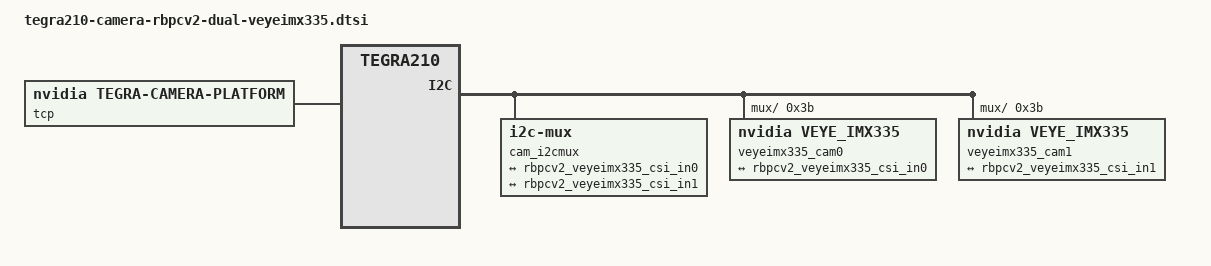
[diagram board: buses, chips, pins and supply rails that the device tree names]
/*
 * Copyright (c) 2018-2019, NVIDIA CORPORATION.  All rights reserved.
 *
 * This program is free software; you can redistribute it and/or modify
 * it under the terms of the GNU General Public License as published by
 * the Free Software Foundation; either version 2 of the License, or
 * (at your option) any later version.
 *
 * This program is distributed in the hope that it will be useful, but WITHOUT
 * ANY WARRANTY; without even the implied warranty of MERCHANTABILITY or
 * FITNESS FOR A PARTICULAR PURPOSE.  See the GNU General Public License for
 * more details.
 *
 * You should have received a copy of the GNU General Public License
 * along with this program.  If not, see <http://www.gnu.org/licenses/>.
 */

#include <dt-bindings/media/camera.h>
#include <dt-bindings/platform/t210/t210.h>

/ {
	host1x {
		vi_base: vi {
			num-channels = <2>;
			ports {
				#address-cells = <1>;
				#size-cells = <0>;
				vi_port0: port@0 {
					reg = <0>;
					rbpcv2_veyeimx335_vi_in0: endpoint {
						port-index = <0>;
						bus-width = <2>;
						remote-endpoint = <&rbpcv2_veyeimx335_csi_out0>;
					};
				};
				vi_port1: port@1 {
					reg = <1>;
					rbpcv2_veyeimx335_vi_in1: endpoint {
						port-index = <4>;
						bus-width = <2>;
						remote-endpoint = <&rbpcv2_veyeimx335_csi_out1>;
					};
				};
			};
		};

		csi_base: nvcsi {
			num-channels = <2>;
			#address-cells = <1>;
			#size-cells = <0>;
			csi_chan0: channel@0 {
				reg = <0>;
				ports {
					#address-cells = <1>;
					#size-cells = <0>;
					csi_chan0_port0: port@0 {
						reg = <0>;
						rbpcv2_veyeimx335_csi_in0: endpoint@0 {
							port-index = <0>;
							bus-width = <2>;
							remote-endpoint = <&rbpcv2_veyeimx335_dual_out0>;
						};
					};
					csi_chan0_port1: port@1 {
						reg = <1>;
						rbpcv2_veyeimx335_csi_out0: endpoint@1 {
							remote-endpoint = <&rbpcv2_veyeimx335_vi_in0>;
						};
					};
				};
			};
			csi_chan1: channel@1 {
				reg = <1>;
				ports {
					#address-cells = <1>;
					#size-cells = <0>;
					csi_chan1_port0: port@2 {
						reg = <0>;
						rbpcv2_veyeimx335_csi_in1: endpoint@2 {
							port-index = <4>;
							bus-width = <2>;
							remote-endpoint = <&rbpcv2_veyeimx335_dual_out1>;
						};
					};
					csi_chan1_port1: port@3 {
						reg = <1>;
						rbpcv2_veyeimx335_csi_out1: endpoint@3 {
							remote-endpoint = <&rbpcv2_veyeimx335_vi_in1>;
						};
					};
				};
			};
		};
	};

	cam_i2cmux {
		i2c_0: i2c@0 {

			veyeimx335_cam0: rbpcv2_veyeimx335_a@3b {

				compatible = "nvidia,veye_imx335";
				/* I2C device address */
				reg = <0x3b>;

				/* V4L2 device node location */
				devnode = "video0";

				/* Physical dimensions of sensor */
				physical_w = "5.6";
				physical_h = "3.1";

				sensor_model = "veyeimx335";

				use_sensor_mode_id = "true";

				/**
				* ==== Modes ====
				* A modeX node is required to support v4l2 driver
				* implementation with NVIDIA camera software stack
				*
				* == Signal properties ==
				*
				* phy_mode = "";
				* PHY mode used by the MIPI lanes for this device
				*
				* tegra_sinterface = "";
				* CSI Serial interface connected to tegra
				* Incase of virtual HW devices, use virtual
				* For SW emulated devices, use host
				*
				* pix_clk_hz = "";
				* Sensor pixel clock used for calculations like exposure and framerate
				*
				* readout_orientation = "0";
				* Based on camera module orientation.
				* Only change readout_orientation if you specifically
				* Program a different readout order for this mode
				*
				* == Image format Properties ==
				*
				* active_w = "";
				* Pixel active region width
				*
				* active_h = "";
				* Pixel active region height
				*
				* pixel_t = "";
				* The sensor readout pixel pattern
				*
				* line_length = "";
				* Pixel line length (width) for sensor mode.
				*
				* == Source Control Settings ==
				*
				* Gain factor used to convert fixed point integer to float
				* Gain range [min_gain/gain_factor, max_gain/gain_factor]
				* Gain step [step_gain/gain_factor is the smallest step that can be configured]
				* Default gain [Default gain to be initialized for the control.
				*     use min_gain_val as default for optimal results]
				* Framerate factor used to convert fixed point integer to float
				* Framerate range [min_framerate/framerate_factor, max_framerate/framerate_factor]
				* Framerate step [step_framerate/framerate_factor is the smallest step that can be configured]
				* Default Framerate [Default framerate to be initialized for the control.
				*     use max_framerate to get required performance]
				* Exposure factor used to convert fixed point integer to float
				* For convenience use 1 sec = 1000000us as conversion factor
				* Exposure range [min_exp_time/exposure_factor, max_exp_time/exposure_factor]
				* Exposure step [step_exp_time/exposure_factor is the smallest step that can be configured]
				* Default Exposure Time [Default exposure to be initialized for the control.
				*     Set default exposure based on the default_framerate for optimal exposure settings]
				*
				* gain_factor = ""; (integer factor used for floating to fixed point conversion)
				* min_gain_val = ""; (ceil to integer)
				* max_gain_val = ""; (ceil to integer)
				* step_gain_val = ""; (ceil to integer)
				* default_gain = ""; (ceil to integer)
				* Gain limits for mode
				*
				* exposure_factor = ""; (integer factor used for floating to fixed point conversion)
				* min_exp_time = ""; (ceil to integer)
				* max_exp_time = ""; (ceil to integer)
				* step_exp_time = ""; (ceil to integer)
				* default_exp_time = ""; (ceil to integer)
				* Exposure Time limits for mode (sec)
				*
				* framerate_factor = ""; (integer factor used for floating to fixed point conversion)
				* min_framerate = ""; (ceil to integer)
				* max_framerate = ""; (ceil to integer)
				* step_framerate = ""; (ceil to integer)
				* default_framerate = ""; (ceil to integer)
				* Framerate limits for mode (fps)
				*
				* embedded_metadata_height = "";
				* Sensor embedded metadata height in units of rows.
				* If sensor does not support embedded metadata value should be 0.
				*/
				mode0 { /* VEYECAM_MODE_2592x1944_20FPS */
					mclk_khz = "24000";
					num_lanes = "2";
					tegra_sinterface = "serial_a";
					phy_mode = "DPHY";
					discontinuous_clk = "no";
					dpcm_enable = "false";
					cil_settletime = "0";

					active_w = "2592";
					active_h = "1944";
					
                    mode_type = "yuv";
					pixel_phase = "uyvy";
					csi_pixel_bit_depth = "16";
					readout_orientation = "0";
					line_length = "3000";
					inherent_gain = "1";
					mclk_multiplier = "2";
					pix_clk_hz = "148500000";

					gain_factor = "16";
					framerate_factor = "1000000";
					exposure_factor = "1000000";
					min_gain_val = "16"; /* 1.00x */
					max_gain_val = "170"; /* 10.66x */
					step_gain_val = "1";
					default_gain = "16"; /* 1.00x */
					min_hdr_ratio = "1";
					max_hdr_ratio = "1";
					min_framerate = "20000000"; /* 20 fps */
					max_framerate = "20000000"; /* 20 fps */
					step_framerate = "1";
					default_framerate = "20000000"; /* 20 fps */
					min_exp_time = "13"; /* us */
					max_exp_time = "333333"; /* us */
					step_exp_time = "1";
					default_exp_time = "2495"; /* us */

					embedded_metadata_height = "0";
				};
                mode1 { /* VEYECAM_MODE_2592x1944_12_5FPS */
					mclk_khz = "24000";
					num_lanes = "2";
					tegra_sinterface = "serial_a";
					phy_mode = "DPHY";
					discontinuous_clk = "no";
					dpcm_enable = "false";
					cil_settletime = "0";

					active_w = "2592";
					active_h = "1944";
					mode_type = "yuv";
					pixel_phase = "uyvy";
					csi_pixel_bit_depth = "16";
					readout_orientation = "0";
					line_length = "3750";
					inherent_gain = "1";
					mclk_multiplier = "2";
					pix_clk_hz = "148500000";

					gain_factor = "16";
					framerate_factor = "1000000";
					exposure_factor = "1000000";
					min_gain_val = "16"; /* 1.00x */
					max_gain_val = "170"; /* 10.66x */
					step_gain_val = "1";
					default_gain = "16"; /* 1.00x */
					min_hdr_ratio = "1";
					max_hdr_ratio = "1";
					min_framerate = "12500000"; /* 12.5 fps */
					max_framerate = "12500000"; /* 12.5 fps */
					step_framerate = "1";
					default_framerate = "12500000"; /* 12.5 fps */
					min_exp_time = "13"; /* us */
					max_exp_time = "333333"; /* us */
					step_exp_time = "1";
					default_exp_time = "2495"; /* us */

					embedded_metadata_height = "0";
				};
                mode2 { /* VEYECAM_MODE_2560x1440_25FPS */
					mclk_khz = "24000";
					num_lanes = "2";
					tegra_sinterface = "serial_a";
					phy_mode = "DPHY";
					discontinuous_clk = "no";
					dpcm_enable = "false";
					cil_settletime = "0";

					active_w = "2560";
					active_h = "1440";
					mode_type = "yuv";
					pixel_phase = "uyvy";
					csi_pixel_bit_depth = "16";
					readout_orientation = "0";
					line_length = "3960";
					inherent_gain = "1";
					mclk_multiplier = "2";
					pix_clk_hz = "148500000";

					gain_factor = "16";
					framerate_factor = "1000000";
					exposure_factor = "1000000";
					min_gain_val = "16"; /* 1.00x */
					max_gain_val = "170"; /* 10.66x */
					step_gain_val = "1";
					default_gain = "16"; /* 1.00x */
					min_hdr_ratio = "1";
					max_hdr_ratio = "1";
					min_framerate = "25000000"; /* 25 fps */
					max_framerate = "25000000"; /* 25 fps */
					step_framerate = "1";
					default_framerate = "25000000"; /* 25 fps */
					min_exp_time = "13"; /* us */
					max_exp_time = "333333"; /* us */
					step_exp_time = "1";
					default_exp_time = "2495"; /* us */

					embedded_metadata_height = "0";
				};
                mode3 { /* VEYECAM_MODE_2560x1440_30FPS */
					mclk_khz = "24000";
					num_lanes = "2";
					tegra_sinterface = "serial_a";
					phy_mode = "DPHY";
					discontinuous_clk = "no";
					dpcm_enable = "false";
					cil_settletime = "0";

					active_w = "2560";
					active_h = "1440";
					mode_type = "yuv";
					pixel_phase = "uyvy";
					csi_pixel_bit_depth = "16";
					readout_orientation = "0";
					line_length = "3300";
					inherent_gain = "1";
					mclk_multiplier = "2";
					pix_clk_hz = "148500000";

					gain_factor = "16";
					framerate_factor = "1000000";
					exposure_factor = "1000000";
					min_gain_val = "16"; /* 1.00x */
					max_gain_val = "170"; /* 10.66x */
					step_gain_val = "1";
					default_gain = "16"; /* 1.00x */
					min_hdr_ratio = "1";
					max_hdr_ratio = "1";
					min_framerate = "30000000"; /* 30 fps */
					max_framerate = "30000000"; /* 30 fps */
					step_framerate = "1";
					default_framerate = "30000000"; /* 30 fps */
					min_exp_time = "13"; /* us */
					max_exp_time = "333333"; /* us */
					step_exp_time = "1";
					default_exp_time = "2495"; /* us */

					embedded_metadata_height = "0";
				};

				ports {
					#address-cells = <1>;
					#size-cells = <0>;

					port@0 {
						reg = <0>;
						rbpcv2_veyeimx335_dual_out0: endpoint {
							port-index = <0>;
							bus-width = <2>;
							remote-endpoint = <&rbpcv2_veyeimx335_csi_in0>;
						};
					};
				};
			};
		};
        i2c_1: i2c@1 {

			veyeimx335_cam1: rbpcv2_veyeimx335_e@3b {

				compatible = "nvidia,veye_imx335";
				/* I2C device address */
				reg = <0x3b>;

				/* V4L2 device node location */
				devnode = "video1";

				/* Physical dimensions of sensor */
				physical_w = "5.6";
				physical_h = "3.1";

				sensor_model = "veyeimx335";

				use_sensor_mode_id = "true";

				/**
				* ==== Modes ====
				* A modeX node is required to support v4l2 driver
				* implementation with NVIDIA camera software stack
				*
				* == Signal properties ==
				*
				* phy_mode = "";
				* PHY mode used by the MIPI lanes for this device
				*
				* tegra_sinterface = "";
				* CSI Serial interface connected to tegra
				* Incase of virtual HW devices, use virtual
				* For SW emulated devices, use host
				*
				* pix_clk_hz = "";
				* Sensor pixel clock used for calculations like exposure and framerate
				*
				* readout_orientation = "0";
				* Based on camera module orientation.
				* Only change readout_orientation if you specifically
				* Program a different readout order for this mode
				*
				* == Image format Properties ==
				*
				* active_w = "";
				* Pixel active region width
				*
				* active_h = "";
				* Pixel active region height
				*
				* pixel_t = "";
				* The sensor readout pixel pattern
				*
				* line_length = "";
				* Pixel line length (width) for sensor mode.
				*
				* == Source Control Settings ==
				*
				* Gain factor used to convert fixed point integer to float
				* Gain range [min_gain/gain_factor, max_gain/gain_factor]
				* Gain step [step_gain/gain_factor is the smallest step that can be configured]
				* Default gain [Default gain to be initialized for the control.
				*     use min_gain_val as default for optimal results]
				* Framerate factor used to convert fixed point integer to float
				* Framerate range [min_framerate/framerate_factor, max_framerate/framerate_factor]
				* Framerate step [step_framerate/framerate_factor is the smallest step that can be configured]
				* Default Framerate [Default framerate to be initialized for the control.
				*     use max_framerate to get required performance]
				* Exposure factor used to convert fixed point integer to float
				* For convenience use 1 sec = 1000000us as conversion factor
				* Exposure range [min_exp_time/exposure_factor, max_exp_time/exposure_factor]
				* Exposure step [step_exp_time/exposure_factor is the smallest step that can be configured]
				* Default Exposure Time [Default exposure to be initialized for the control.
				*     Set default exposure based on the default_framerate for optimal exposure settings]
				*
				* gain_factor = ""; (integer factor used for floating to fixed point conversion)
				* min_gain_val = ""; (ceil to integer)
				* max_gain_val = ""; (ceil to integer)
				* step_gain_val = ""; (ceil to integer)
				* default_gain = ""; (ceil to integer)
				* Gain limits for mode
				*
				* exposure_factor = ""; (integer factor used for floating to fixed point conversion)
				* min_exp_time = ""; (ceil to integer)
				* max_exp_time = ""; (ceil to integer)
				* step_exp_time = ""; (ceil to integer)
				* default_exp_time = ""; (ceil to integer)
				* Exposure Time limits for mode (sec)
				*
				* framerate_factor = ""; (integer factor used for floating to fixed point conversion)
				* min_framerate = ""; (ceil to integer)
				* max_framerate = ""; (ceil to integer)
				* step_framerate = ""; (ceil to integer)
				* default_framerate = ""; (ceil to integer)
				* Framerate limits for mode (fps)
				*
				* embedded_metadata_height = "";
				* Sensor embedded metadata height in units of rows.
				* If sensor does not support embedded metadata value should be 0.
				*/
				mode0 { /* VEYECAM_MODE_2592x1944_20FPS */
					mclk_khz = "24000";
					num_lanes = "2";
					tegra_sinterface = "serial_a";
					phy_mode = "DPHY";
					discontinuous_clk = "no";
					dpcm_enable = "false";
					cil_settletime = "0";

					active_w = "2592";
					active_h = "1944";
					
                    mode_type = "yuv";
					pixel_phase = "uyvy";
					csi_pixel_bit_depth = "16";
					readout_orientation = "0";
					line_length = "3000";
					inherent_gain = "1";
					mclk_multiplier = "2";
					pix_clk_hz = "148500000";

					gain_factor = "16";
					framerate_factor = "1000000";
					exposure_factor = "1000000";
					min_gain_val = "16"; /* 1.00x */
					max_gain_val = "170"; /* 10.66x */
					step_gain_val = "1";
					default_gain = "16"; /* 1.00x */
					min_hdr_ratio = "1";
					max_hdr_ratio = "1";
					min_framerate = "20000000"; /* 20 fps */
					max_framerate = "20000000"; /* 20 fps */
					step_framerate = "1";
					default_framerate = "20000000"; /* 20 fps */
					min_exp_time = "13"; /* us */
					max_exp_time = "333333"; /* us */
					step_exp_time = "1";
					default_exp_time = "2495"; /* us */

					embedded_metadata_height = "0";
				};
                mode1 { /* VEYECAM_MODE_2592x1944_12_5FPS */
					mclk_khz = "24000";
					num_lanes = "2";
					tegra_sinterface = "serial_a";
					phy_mode = "DPHY";
					discontinuous_clk = "no";
					dpcm_enable = "false";
					cil_settletime = "0";

					active_w = "2592";
					active_h = "1944";
					mode_type = "yuv";
					pixel_phase = "uyvy";
					csi_pixel_bit_depth = "16";
					readout_orientation = "0";
					line_length = "3750";
					inherent_gain = "1";
					mclk_multiplier = "2";
					pix_clk_hz = "148500000";

					gain_factor = "16";
					framerate_factor = "1000000";
					exposure_factor = "1000000";
					min_gain_val = "16"; /* 1.00x */
					max_gain_val = "170"; /* 10.66x */
					step_gain_val = "1";
					default_gain = "16"; /* 1.00x */
					min_hdr_ratio = "1";
					max_hdr_ratio = "1";
					min_framerate = "12500000"; /* 12.5 fps */
					max_framerate = "12500000"; /* 12.5 fps */
					step_framerate = "1";
					default_framerate = "12500000"; /* 12.5 fps */
					min_exp_time = "13"; /* us */
					max_exp_time = "333333"; /* us */
					step_exp_time = "1";
					default_exp_time = "2495"; /* us */

					embedded_metadata_height = "0";
				};
                mode2 { /* VEYECAM_MODE_2560x1440_25FPS */
					mclk_khz = "24000";
					num_lanes = "2";
					tegra_sinterface = "serial_a";
					phy_mode = "DPHY";
					discontinuous_clk = "no";
					dpcm_enable = "false";
					cil_settletime = "0";

					active_w = "2560";
					active_h = "1440";
					mode_type = "yuv";
					pixel_phase = "uyvy";
					csi_pixel_bit_depth = "16";
					readout_orientation = "0";
					line_length = "3960";
					inherent_gain = "1";
					mclk_multiplier = "2";
					pix_clk_hz = "148500000";

					gain_factor = "16";
					framerate_factor = "1000000";
					exposure_factor = "1000000";
					min_gain_val = "16"; /* 1.00x */
					max_gain_val = "170"; /* 10.66x */
					step_gain_val = "1";
					default_gain = "16"; /* 1.00x */
					min_hdr_ratio = "1";
					max_hdr_ratio = "1";
					min_framerate = "25000000"; /* 25 fps */
					max_framerate = "25000000"; /* 25 fps */
					step_framerate = "1";
					default_framerate = "25000000"; /* 25 fps */
					min_exp_time = "13"; /* us */
					max_exp_time = "333333"; /* us */
					step_exp_time = "1";
					default_exp_time = "2495"; /* us */

					embedded_metadata_height = "0";
				};
                mode3 { /* VEYECAM_MODE_2560x1440_30FPS */
					mclk_khz = "24000";
					num_lanes = "2";
					tegra_sinterface = "serial_a";
					phy_mode = "DPHY";
					discontinuous_clk = "no";
					dpcm_enable = "false";
					cil_settletime = "0";

					active_w = "2560";
					active_h = "1440";
					mode_type = "yuv";
					pixel_phase = "uyvy";
					csi_pixel_bit_depth = "16";
					readout_orientation = "0";
					line_length = "3300";
					inherent_gain = "1";
					mclk_multiplier = "2";
					pix_clk_hz = "148500000";

					gain_factor = "16";
					framerate_factor = "1000000";
					exposure_factor = "1000000";
					min_gain_val = "16"; /* 1.00x */
					max_gain_val = "170"; /* 10.66x */
					step_gain_val = "1";
					default_gain = "16"; /* 1.00x */
					min_hdr_ratio = "1";
					max_hdr_ratio = "1";
					min_framerate = "30000000"; /* 30 fps */
					max_framerate = "30000000"; /* 30 fps */
					step_framerate = "1";
					default_framerate = "30000000"; /* 30 fps */
					min_exp_time = "13"; /* us */
					max_exp_time = "333333"; /* us */
					step_exp_time = "1";
					default_exp_time = "2495"; /* us */

					embedded_metadata_height = "0";
				};

				ports {
					#address-cells = <1>;
					#size-cells = <0>;

					port@0 {
						reg = <0>;
						rbpcv2_veyeimx335_dual_out1: endpoint {
							port-index = <4>;
							bus-width = <2>;
							remote-endpoint = <&rbpcv2_veyeimx335_csi_in1>;
						};
					};
				};
			};
		};
    };

	/*lens_veyeimx335@RBPCV2 {
		min_focus_distance = "0.0";
		hyper_focal = "0.0";
		focal_length = "3.04";
		f_number = "2.0";
		aperture = "0.0";
	};*/
};

/ {
	tcp: tegra-camera-platform {
		compatible = "nvidia, tegra-camera-platform";


		/**
		* Physical settings to calculate max ISO BW
		*
		* num_csi_lanes = <>;
		* Total number of CSI lanes when all cameras are active
		*
		* max_lane_speed = <>;
		* Max lane speed in Kbit/s
		*
		* min_bits_per_pixel = <>;
		* Min bits per pixel
		*
		* vi_peak_byte_per_pixel = <>;
		* Max byte per pixel for the VI ISO case
		*
		* vi_bw_margin_pct = <>;
		* Vi bandwidth margin in percentage
		*
		* max_pixel_rate = <>;
		* Max pixel rate in Kpixel/s for the ISP ISO case
		*
		* isp_peak_byte_per_pixel = <>;
		* Max byte per pixel for the ISP ISO case
		*
		* isp_bw_margin_pct = <>;
		* Isp bandwidth margin in percentage
		*/
		num_csi_lanes = <4>;
		max_lane_speed = <1500000>;
		min_bits_per_pixel = <8>;
		vi_peak_byte_per_pixel = <2>;
		vi_bw_margin_pct = <25>;
		max_pixel_rate = <240000>;
		isp_peak_byte_per_pixel = <5>;
		isp_bw_margin_pct = <25>;

		/**
		 * The general guideline for naming badge_info contains 3 parts, and is as follows,
		 * The first part is the camera_board_id for the module; if the module is in a FFD
		 * platform, then use the platform name for this part.
		 * The second part contains the position of the module, ex. "rear" or "front".
		 * The third part contains the last 6 characters of a part number which is found
		 * in the module's specsheet from the vendor.
		 */
		modules {
			cam_module0: module0 {
				badge = "porg_front_veyeimx335";
				position = "front";
				orientation = "1";
				cam_module0_drivernode0: drivernode0 {
					pcl_id = "v4l2_sensor";
					devname = "veyeimx335 7-003b";
					proc-device-tree = "/proc/device-tree/cam_i2cmux/i2c@0/rbpcv2_veyeimx335_a@3b";
				};
				/*cam_module0_drivernode1: drivernode1 {
					pcl_id = "v4l2_lens";
					proc-device-tree = "/proc/device-tree/lens_veyeimx335@RBPCV2/";
				};*/
			};
			cam_module1: module1 {
				badge = "porg_rear_veyeimx335";
				position = "rear";
				orientation = "1";
				cam_module1_drivernode0: drivernode0 {
					pcl_id = "v4l2_sensor";
					devname = "veyeimx335 8-003b";
					proc-device-tree = "/proc/device-tree/cam_i2cmux/i2c@1/rbpcv2_veyeimx335_e@3b";
				};
				/*cam_module1_drivernode1: drivernode1 {
					pcl_id = "v4l2_lens";
					proc-device-tree = "/proc/device-tree/lens_veyeimx335@RBPCV2/";
				};*/
			};
		};
	};
};
